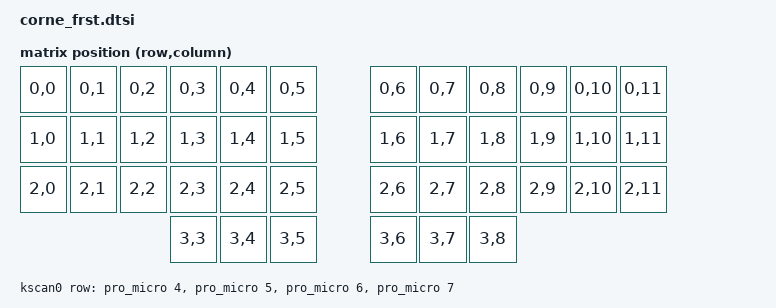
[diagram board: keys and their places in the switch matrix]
/*
 * Copyright (c) 2025 Jon Sharp
 * Co-authored by Claude (Anthropic)
 * SPDX-License-Identifier: MIT
 */

#include <dt-bindings/zmk/matrix_transform.h>

/ {
    chosen {
        zmk,kscan = &kscan0;
        zmk,matrix_transform = &default_transform;
    };

    default_transform: keymap_transform_0 {
        compatible = "zmk,matrix-transform";
        columns = <12>;
        rows = <4>;
// 42-key Corne layout with outer columns as app launchers
//
// | EDT |  Q  |  W  |  E  |  R  |  T  |   |  Y  |  U  |  I  |  O  |  P  | FIL |
// | SHL |  A  |  S  |  D  |  F  |  G  |   |  H  |  J  |  K  |  L  |  ;  | COM |
// | SET |  Z  |  X  |  C  |  V  |  B  |   |  N  |  M  |  ,  |  .  |  /  | HOM |
//                   | CTL | BSP | SPC |   | ENT | DEL | L1  |
//
// Outer columns: App launchers (F13-F18)
//   Left:  F13=Editor, F14=Shell, F15=Settings
//   Right: F16=Files, F17=Comms, F18=Home
        map = <
RC(0,0) RC(0,1) RC(0,2) RC(0,3) RC(0,4) RC(0,5)  RC(0,6) RC(0,7) RC(0,8) RC(0,9) RC(0,10) RC(0,11)
RC(1,0) RC(1,1) RC(1,2) RC(1,3) RC(1,4) RC(1,5)  RC(1,6) RC(1,7) RC(1,8) RC(1,9) RC(1,10) RC(1,11)
RC(2,0) RC(2,1) RC(2,2) RC(2,3) RC(2,4) RC(2,5)  RC(2,6) RC(2,7) RC(2,8) RC(2,9) RC(2,10) RC(2,11)
                        RC(3,3) RC(3,4) RC(3,5)  RC(3,6) RC(3,7) RC(3,8)
        >;
    };

    kscan0: kscan {
        compatible = "zmk,kscan-gpio-matrix";
        wakeup-source;
        diode-direction = "col2row";
        debounce-press-ms = <15>;
        debounce-release-ms = <15>;
        debounce-scan-period-ms = <1>;

        row-gpios
            = <&pro_micro 4 (GPIO_ACTIVE_HIGH | GPIO_PULL_DOWN)>
            , <&pro_micro 5 (GPIO_ACTIVE_HIGH | GPIO_PULL_DOWN)>
            , <&pro_micro 6 (GPIO_ACTIVE_HIGH | GPIO_PULL_DOWN)>
            , <&pro_micro 7 (GPIO_ACTIVE_HIGH | GPIO_PULL_DOWN)>
            ;
    };

    /* Deep sleep wakeup configuration */
    soft_off_wakers {
        compatible = "zmk,soft-off-wakeup-sources";
        wakeup-sources = <&kscan0>;
    };
};
